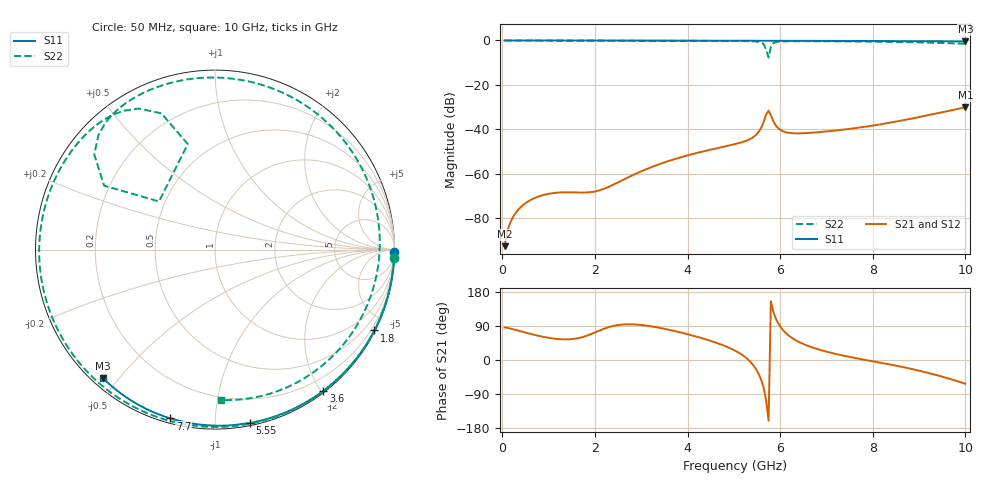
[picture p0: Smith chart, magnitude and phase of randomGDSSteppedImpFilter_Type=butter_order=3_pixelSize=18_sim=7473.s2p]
! freq	dB(S11)	phase(S11)	dB(S12)	phase(S12)
!  dB(S21)	phase(S21)	dB(S22)	phase(S22)
!S-par simulation data
#  GHz  S  DB  R 50
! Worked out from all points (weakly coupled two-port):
!   200 points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, 50 MHz to 10 GHz, reference 50 ohm
!   highest |S21| = -30.13 dB at 10 GHz (marker M1); lowest = -92.7 dB at 50 MHz (marker M2)
!   lowest |S11| = -0.4 dB at 10 GHz (marker M3), VSWR 38.82, Z = 1.55 - j22.7 ohm
!   |S11| at or under -10 dB: nowhere
!   |S22| runs from -7.7 to 0.0 dB; largest |S21 - S12| = 0
!   S11 on the Smith chart (normalised r, x): 50 MHz: open; 1.8 GHz: 0.04, -4.19; 3.6 GHz: 0.02, -2.03; 5.55 GHz: 0.02, -1.22; 7.7 GHz: 0.02, -0.77; 10 GHz: 0.03, -0.45
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0.05  -0.00 -0.8  -92.70 85.7  -92.70 85.7  -0.02 -2.8
0.2  -0.01 -3.0  -80.82 82.2  -80.82 82.2  -0.03 -11.7
0.95  -0.02 -14.3  -69.32 59.7  -69.32 59.7  -0.06 -53.9
1.75  -0.03 -26.1  -68.55 61.0  -68.55 61.0  -0.10 -93.2
1.8  -0.03 -26.9  -68.53 63.0  -68.53 63.0  -0.10 -95.5
2.6  -0.05 -38.5  -62.89 93.7  -62.89 93.7  -0.13 -128.4
3.4  -0.07 -49.8  -55.69 84.8  -55.69 84.8  -0.15 -157.1
3.6  -0.07 -52.5  -54.27 79.8  -54.27 79.8  -0.16 -163.8
5.05  -0.11 -72.0  -46.57 23.2  -46.57 23.2  -0.25 147.6
5.55  -0.13 -78.5  -40.79 -40.2  -40.79 -40.2  -0.67 123.3
5.65  -0.14 -79.8  -36.37 -76.5  -36.37 -76.5  -1.76 111.5
5.7  -0.14 -80.5  -33.21 -109.5  -33.21 -109.5  -4.34 104.5
5.75  -0.15 -81.0  -31.68 -160.0  -31.68 -160.0  -7.71 139.3
5.8  -0.15 -81.6  -33.72 155.4  -33.72 155.4  -2.94 150.0
5.85  -0.15 -82.3  -36.26 128.7  -36.26 128.7  -1.35 141.8
6.1  -0.15 -85.4  -41.22 73.9  -41.22 73.9  -0.40 121.7
6.7  -0.18 -92.8  -41.56 32.9  -41.56 32.9  -0.36 95.5
7.7  -0.24 -104.8  -39.29 3.3  -39.29 3.3  -0.48 51.2
8.35  -0.29 -112.4  -37.14 -11.4  -37.14 -11.4  -0.64 17.8
9.15  -0.36 -121.5  -33.88 -32.6  -33.88 -32.6  -0.96 -29.3
9.6  -0.40 -126.6  -31.92 -47.5  -31.92 -47.5  -1.22 -58.9
10  -0.45 -131.1  -30.13 -62.8  -30.13 -62.8  -1.52 -87.6
